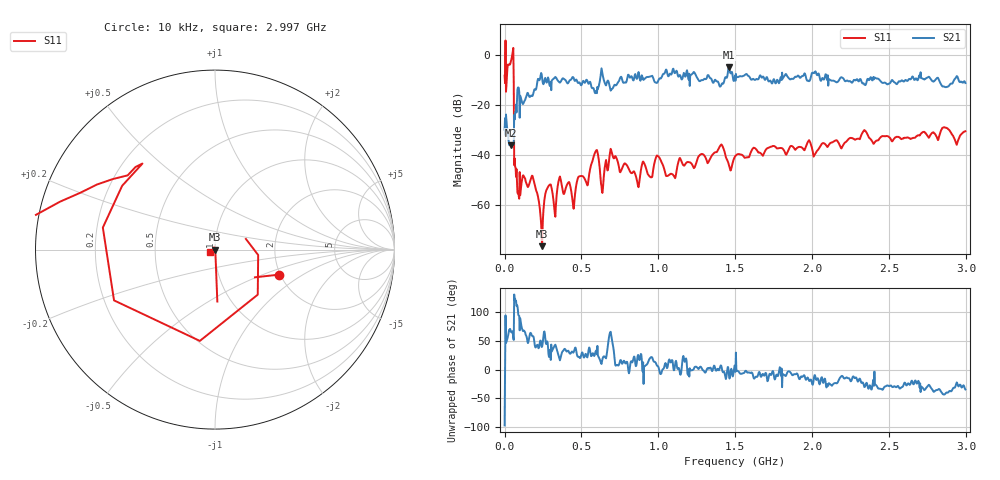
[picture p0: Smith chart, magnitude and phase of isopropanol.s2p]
# HZ S RI R 50
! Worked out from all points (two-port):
!   1009 points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, 10 kHz to 2.997 GHz, reference 50 ohm
!   highest |S21| = -4.90 dB at 1.457 GHz (marker M1); lowest = -36.1 dB at 41.64 MHz (marker M2)
!   |S21| within 3 dB of the highest: 1.084 GHz to 1.125 GHz (41.48 MHz wide, 3.76 % of centre); 1.45 GHz to 1.482 GHz (31.74 MHz wide, 2.16 % of centre)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
!   lowest |S11| = -76.3 dB at 243.8 MHz (marker M3), VSWR 1.00, Z = 50 - j0.0128 ohm
!   |S11| at or under -10 dB: 1.645 MHz to 3.218 MHz (1.573 MHz wide, 64.7 % of centre); 8.233 MHz to 14.12 MHz (5.89 MHz wide, 52.7 % of centre); 59.31 MHz to end of sweep
!   S12 and S22 are empty: the file has one direction only
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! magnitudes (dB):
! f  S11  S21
! 10 kHz  -8.4  -29.9
! 41.64 MHz  -2.5  -36.1
! 80.29 MHz  -50.2  -18.9
! 184.4 MHz  -48.9  -16.0
! 243.8 MHz  -76.3  -9.2
! 285.4 MHz  -52.3  -9.6
! 324.1 MHz  -61.8  -9.3
! 446 MHz  -60.2  -9.0
! 499.5 MHz  -48.3  -12.2
! 538.2 MHz  -52.1  -10.5
! 594.7 MHz  -38.3  -14.9
! 633.3 MHz  -54.5  -6.5
! 695.7 MHz  -38.7  -13.8
! 865.2 MHz  -51.5  -8.8
! 999 MHz  -40.5  -10.5
! 1.061 GHz  -48.2  -8.3
! 1.406 GHz  -36.0  -12.5
! 1.457 GHz  -43.5  -4.9
! 1.499 GHz  -40.6  -8.3
! 1.998 GHz  -36.9  -7.4
! 2.498 GHz  -32.7  -11.6
! 2.997 GHz  -30.5  -11.3
